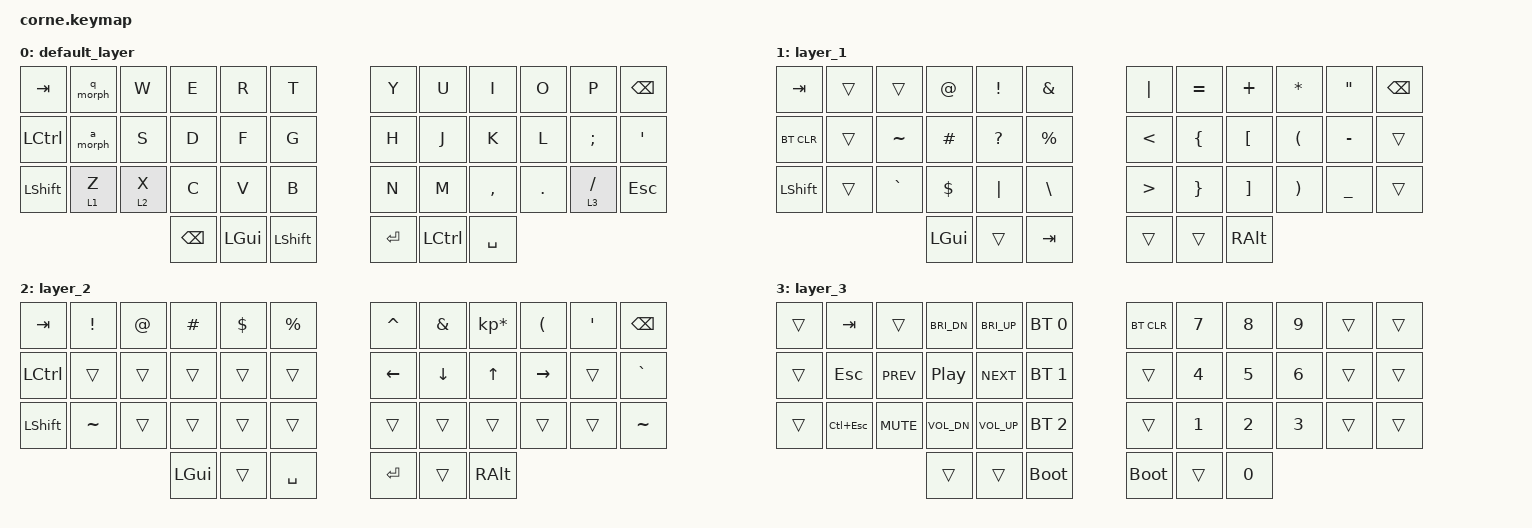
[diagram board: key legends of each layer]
/*
 * Copyright (c) 2020 The ZMK Contributors
 *
 * SPDX-License-Identifier: MIT
 */

#include <behaviors.dtsi>
#include <dt-bindings/zmk/bt.h>
#include <dt-bindings/zmk/keys.h>

/ {
    behaviors {
        q_morph: q_morph {
            compatible = "zmk,behavior-mod-morph";
            #binding-cells = <0>;
            bindings = <&kp Q>, <&kp TAB>;
            mods = <(MOD_LGUI)>;
            keep-mods = <(MOD_LGUI)>;
        };

        q_ht: q_ht {
            compatible = "zmk,behavior-hold-tap";
            #binding-cells = <2>;
            flavor = "balanced";
            tapping-term-ms = <200>;
            bindings = <&kp>, <&q_morph>;
        };

        a_morph: a_morph {
            compatible = "zmk,behavior-mod-morph";
            #binding-cells = <0>;
            bindings = <&kp A>, <&kp ESC>;
            mods = <(MOD_LCTL)>;
            keep-mods = <(MOD_LCTL)>;
        };

        a_ht: a_ht {
            compatible = "zmk,behavior-hold-tap";
            #binding-cells = <2>;
            flavor = "balanced";
            tapping-term-ms = <200>;
            bindings = <&kp>, <&a_morph>;
        };

        b_sk_ht: b_sk_ht {
            compatible = "zmk,behavior-hold-tap";
            #binding-cells = <2>;
            flavor = "balanced";
            tapping-term-ms = <200>;
            bindings = <&sk>, <&kp>;
        };

        td_ctrl_shft: td_ctrl_shft {
            compatible = "zmk,behavior-tap-dance";
            #binding-cells = <0>;
            tapping-term-ms = <200>;
            bindings = <&kp LSHFT>, <&kp LGUI>;
        };

        td_shft_layer3: td_shft_layer3 {
            compatible = "zmk,behavior-tap-dance";
            #binding-cells = <0>;
            tapping-term-ms = <200>;
            bindings = <&kp LSHFT>, <&mo 3>;
        };

        td_ctrl_layer2: td_ctrl_layer2 {
            compatible = "zmk,behavior-tap-dance";
            #binding-cells = <0>;
            tapping-term-ms = <200>;
            bindings = <&kp LCTRL>, <&mo 2>;
        };

        td_bspc_layer1: td_bspc_layer1 {
            compatible = "zmk,behavior-tap-dance";
            #binding-cells = <0>;
            tapping-term-ms = <200>;
            bindings = <&lt 1 BSPC>, <&kp BSPC>;
        };
    };

    keymap {
        compatible = "zmk,keymap";

        default_layer {
            // -----------------------------------------------------------------------------------------
            // |  TAB |  Q  |  W  |  E  |  R  |  T  |   |  Y  |  U   |  I  |  O  |  P  | BKSP |
            // | CTRL |  A  |  S  |  D  |  F  |  G  |   |  H  |  J   |  K  |  L  |  ;  |  '   |
            // | SHFT |  Z  |  X  |  C  |  V  |  B  |   |  N  |  M   |  ,  |  .  |  /  | ESC  |
            //                    | GUI | LWR | SPC |   | ENT | RSE  | SPC |

            bindings = <
&kp TAB    &q_morph  &kp W  &kp E     &kp R  &kp T        &kp Y    &kp U  &kp I      &kp O    &kp P     &kp BSPC
&kp LCTRL  &a_morph  &kp S  &kp D     &kp F  &kp G        &kp H    &kp J  &kp K      &kp L    &kp SEMI  &kp SQT
&kp LSHFT  &lt 1 Z  &lt 2 X  &kp C     &kp V  &kp B        &kp N    &kp M  &kp COMMA  &kp DOT  &lt 3 FSLH  &kp ESC
                         &kp BSPC  &kp LGUI  &kp LSHFT    &kp RET  &kp LCTRL  &kp SPACE
            >;
        };

        layer_1 {
            // -----------------------------------------------------------------------------------------
            // |  TAB |  1  |  2  |  3  |  4  |  5  |   |  6  |  7  |  8  |  9  |  0  | BKSP |
            // | BTCLR| BT1 | BT2 | BT3 | BT4 | BT5 |   | LFT | DWN |  UP | RGT |     |      |
            // | SHFT |     |     |     |     |     |   |     |     |     |     |     |      |
            //                    | GUI |     | SPC |   | ENT |     | ALT |

            bindings = <
&kp TAB     &trans        &trans        &kp AT        &kp EXCL      &kp AMPS        &kp PIPE  &kp EQUAL  &kp PLUS   &kp STAR   &kp DQT  &kp BSPC
&bt BT_CLR  &trans        &kp TILDE  &kp HASH      &kp QMARK     &kp PRCNT       &kp LT     &kp LBRC  &kp LBKT  &kp LPAR   &kp MINUS  &trans
&kp LSHFT   &trans  &kp GRAVE     &kp DLLR       &kp PIPE      &kp BSLH          &kp GT     &kp RBRC  &kp RBKT  &kp RPAR   &kp UNDER  &trans
                                        &kp LGUI      &trans        &kp TAB       &trans   &trans    &kp RALT
            >;
        };

        layer_2 {
            // -----------------------------------------------------------------------------------------
            // |  TAB |  !  |  @  |  #  |  $  |  %  |   |  ^  |  &  |  *  |  (  |  )  | BKSP |
            // | CTRL |     |     |     |     |     |   |  -  |  =  |  [  |  ]  |  \  |  `   |
            // | SHFT |     |     |     |     |     |   |  _  |  +  |  {  |  }  | "|" |  ~   |
            //                    | GUI |     | SPC |   | ENT |     | ALT |

            bindings = <
&kp TAB    &kp EXCL  &kp AT   &kp HASH  &kp DLLR  &kp PRCNT    &kp CARET  &kp AMPS   &kp KP_MULTIPLY  &kp LPAR  &kp SQT   &kp BSPC
&kp LCTRL  &trans    &trans  &trans    &trans    &trans       &kp LEFT   &kp DOWN   &kp UP           &kp RIGHT &trans  &kp GRAVE
&kp LSHFT  &kp TILDE    &trans  &trans    &trans    &trans       &trans  &trans   &trans         &trans  &trans  &kp TILDE
                             &kp LGUI  &trans    &kp SPACE    &kp RET    &trans     &kp RALT
            >;
        };

        layer_3 {
            bindings = <
&trans  &kp TAB       &trans        &kp C_BRI_DN  &kp C_BRI_UP  &bt BT_SEL 0    &bt BT_CLR  &kp N7  &kp N8  &kp N9  &trans  &trans
&trans           &kp ESC       &kp C_PREV    &kp C_PLAY_PAUSE  &kp C_NEXT  &bt BT_SEL 1    &trans  &kp N4  &kp N5  &kp N6  &trans  &trans
&trans    &kp LC(ESC)        &kp C_MUTE    &kp C_VOL_DN  &kp C_VOL_UP  &bt BT_SEL 2    &trans  &kp N1  &kp N2  &kp N3  &trans  &trans
                                &trans  &trans  &bootloader    &bootloader  &trans  &kp N0
            >;
        };
    };
};
